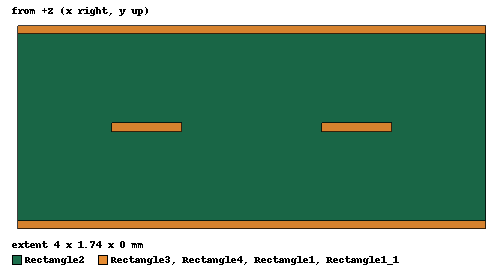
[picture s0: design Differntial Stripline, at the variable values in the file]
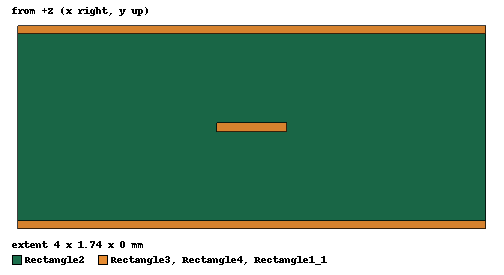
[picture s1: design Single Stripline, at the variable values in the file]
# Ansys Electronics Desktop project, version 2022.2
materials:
  vacuum: permittivity=1
  copper: permeability=0.999991 conductivity=58000000
  FR4_epoxy: permittivity=4.4 dielectric_loss_tangent=0.02

design Differntial Stripline (2D Extractor, Open, model units mm)
options: LumpedLength=1meter RiseTime=1ns DistribLengthUnits=meter Calculate_Lossy_Dielectrics
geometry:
  Rectangle1 [copper] = rectangle(corner=(-1.2mm, -0.035mm, 0mm), x_size=0.6mm, y_size=70um)
  Rectangle1_1 [copper] = Rectangle1.duplicate_mirror(point=(0mm, 0mm, 0mm), normal=(-1mm, 0mm, 0mm))
  Rectangle2 [FR4_epoxy] = rectangle(corner=(-2mm, -0.8mm, 0mm), x_size=4mm, y_size=1.6mm)
  Rectangle3 [copper] = rectangle(corner=(-2mm, 0.8mm, 0mm), x_size=4mm, y_size=70um)
  Rectangle4 [copper] = rectangle(corner=(-2mm, -0.8mm, 0mm), x_size=4mm, y_size=-70um)
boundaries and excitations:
  Rectangle3: ReferenceGround Objects=[Rectangle3, Rectangle4] SolveOption=SolveInside Thickness=-1000mm
  1: SignalLine Objects=Rectangle1 SolveOption=SolveInside Thickness=-1000mm
  2: SignalLine Objects=Rectangle1_1 SolveOption=SolveInside Thickness=-1000mm
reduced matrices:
  DiffPairMatrix: Operations{op(DiffPair1, 0, "DiffPair(SelectionArray[2: 2, 3], OverrideInfo(2, 'Pair1'))")}
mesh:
  initial mesh: MeshMethod=AnsoftTAU
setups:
  Setup1: 2DMatrix AdaptiveFreq=60GHz SaveFields CGDataBlock{MaxPass=10 MinPass=1 MinConvPass=1 PerError=1 PerRefine=30 Included PerErrorParamConv=1} RLDataBlock{MaxPass=10 MinPass=1 MinConvPass=1 PerError=1 PerRefine=30 Included PerErrorParamConv=1}
    sweep Sweep2: 40MHz to 60GHz, 1500 points; Type=Interpolating InterpTolerance=0.5 InterpMaxSolns=50
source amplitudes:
  1: CG Fields 1V 0deg
  2: CG Fields 0V 0deg
  1: RL Fields 1A 0deg
  2: RL Fields 0A 0deg

design Single Stripline (2D Extractor, Open, model units mm)
options: LumpedLength=1meter RiseTime=1ns DistribLengthUnits=meter Calculate_Lossy_Dielectrics
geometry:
  Rectangle1 = rectangle(corner=(-1.2mm, -0.035mm, 0mm), x_size=0.6mm, y_size=70um)
  Rectangle2 [FR4_epoxy] = rectangle(corner=(-2mm, -0.8mm, 0mm), x_size=4mm, y_size=1.6mm)
  Rectangle3 [copper] = rectangle(corner=(-2mm, 0.8mm, 0mm), x_size=4mm, y_size=70um)
  Rectangle4 [copper] = rectangle(corner=(-2mm, -0.8mm, 0mm), x_size=4mm, y_size=-70um)
  Rectangle1_1 [copper] = Rectangle1.duplicate_along_line(step=(0.9mm, 0mm, 0mm), total=2)
  Rectangle1.delete()
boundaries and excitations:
  Rectangle3: ReferenceGround Objects=[Rectangle3, Rectangle4] SolveOption=SolveInside Thickness=-1000mm
  Signal: SignalLine Objects=Rectangle1_1 SolveOption=SolveInside Thickness=-1000mm
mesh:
  initial mesh: MeshMethod=AnsoftTAU
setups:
  Setup1: 2DMatrix AdaptiveFreq=1GHz SaveFields CGDataBlock{MaxPass=10 MinPass=1 MinConvPass=1 PerError=1 PerRefine=30 Included PerErrorParamConv=1} RLDataBlock{MaxPass=10 MinPass=1 MinConvPass=1 PerError=1 PerRefine=30 Included PerErrorParamConv=1}
    sweep Sweep1: 40MHz to 60GHz, 375 points; Type=Discrete
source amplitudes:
  Signal: CG Fields 1V 0deg
  Signal: RL Fields 1A 0deg
